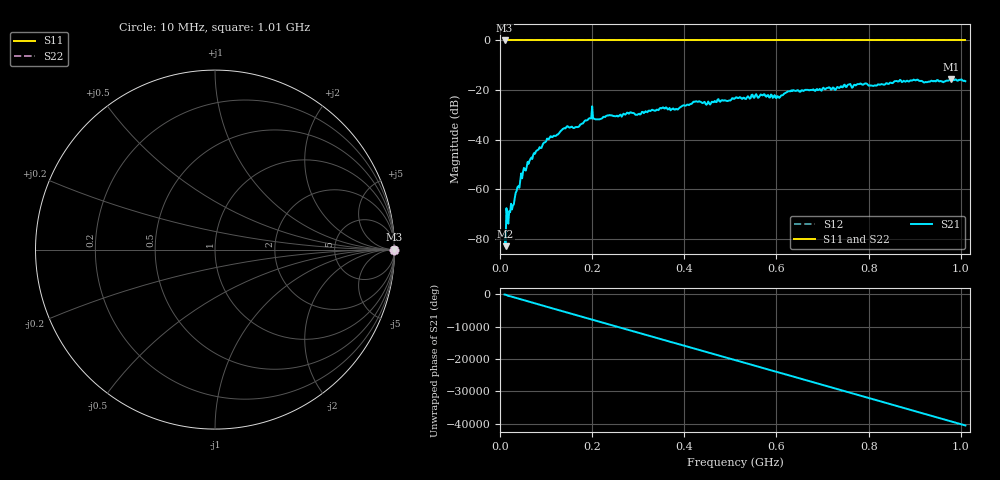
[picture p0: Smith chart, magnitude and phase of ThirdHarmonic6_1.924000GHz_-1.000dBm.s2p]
! 8/16/2025 11:11:56 PM
! C:\ANRITSUVNA\TEMP\TEMP.S2P
! CHANNEL.1
! TR.MEASUREMENT
! RAW.DATA
! RF.CORRECTION.OFF
! AVERAGING.OFF
! IF.BANDWIDTH: 5KHZ
! SWEEPTYPE:  FREQ.SWEEP(Linear)
! Reference Plane Port Info
! PORT:  PORT1  PORT2
! DISTANCE:  0  m  0  m
! TIME:  0  s  0  s
! PHASE.OFFSET:  0  deg.  0  deg.
! LOSS:  0  dB  0  dB
! REF.LOSS:  0  dB  0  dB
! REF.FREQ:  0  Hz  0  Hz
! Power Info
! POWER:  -20  dBm  -20  dBm
! EFF.POWER:  -20  dBm  -20  dBm
! SOURCE.ATTEN:  0  dB  0  dB
! TEST.ATTEN:  0  dB  0  dB
# GHZ S RI R 50.0
! FREQ.GHZ  S11RE  S11IM  S21RE  S21IM  S12RE  S12IM  S22RE  S22IM
!; PortSelection: Port_12
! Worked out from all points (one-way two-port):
!   501 points, 10 MHz to 1.01 GHz, reference 50 ohm
!   highest |S21| = -15.63 dB at 978 MHz (marker M1); lowest = -82.8 dB at 12 MHz (marker M2)
!   lowest |S11| = 0.0 dB at 10 MHz (marker M3)
!   |S11| at or under -10 dB: nowhere
!   |S22| runs from 0.0 to 0.0 dB; largest |S21 - S12| = 1.2
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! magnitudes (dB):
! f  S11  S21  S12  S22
! 10 MHz  0.0  -78.2  0.0  0.0
! 12 MHz  0.0  -82.8  0.0  0.0
! 18 MHz  0.0  -73.8  0.0  0.0
! 30 MHz  0.0  -66.0  0.0  0.0
! 48 MHz  0.0  -55.5  0.0  0.0
! 76 MHz  0.0  -45.6  0.0  0.0
! 106 MHz  0.0  -39.8  0.0  0.0
! 136 MHz  0.0  -35.7  0.0  0.0
! 178 MHz  0.0  -33.5  0.0  0.0
! 196 MHz  0.0  -31.3  0.0  0.0
! 212 MHz  0.0  -31.8  0.0  0.0
! 344 MHz  0.0  -28.1  0.0  0.0
! 382 MHz  0.0  -27.5  0.0  0.0
! 424 MHz  0.0  -24.6  0.0  0.0
! 510 MHz  0.0  -23.3  0.0  0.0
! 570 MHz  0.0  -22.1  0.0  0.0
! 602 MHz  0.0  -22.4  0.0  0.0
! 628 MHz  0.0  -20.4  0.0  0.0
! 678 MHz  0.0  -19.9  0.0  0.0
! 844 MHz  0.0  -17.5  0.0  0.0
! 978 MHz  0.0  -15.6  0.0  0.0
! 1.01 GHz  0.0  -16.4  0.0  0.0
